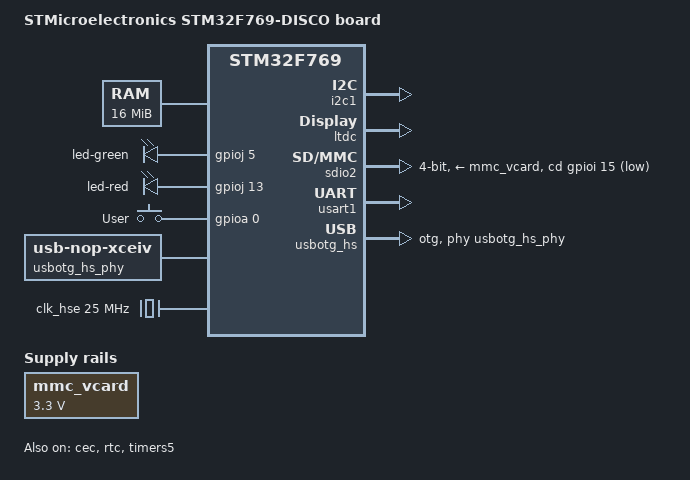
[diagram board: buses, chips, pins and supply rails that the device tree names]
// SPDX-License-Identifier: GPL-2.0+ OR X11
/*
 * Copyright 2017 - Vikas MANOCHA <vikas.manocha@st.com>
 *
 */

/dts-v1/;
#include "stm32f746.dtsi"
#include "stm32f769-pinctrl.dtsi"
#include <dt-bindings/input/input.h>
#include <dt-bindings/gpio/gpio.h>

/ {
	model = "STMicroelectronics STM32F769-DISCO board";
	compatible = "st,stm32f769-disco", "st,stm32f769";

	chosen {
		bootargs = "root=/dev/ram";
		stdout-path = "serial0:115200n8";
	};

	memory@c0000000 {
		device_type = "memory";
		reg = <0xC0000000 0x1000000>;
	};

	aliases {
		serial0 = &usart1;
	};

	leds {
		compatible = "gpio-leds";
		led-green {
			gpios = <&gpioj 5 GPIO_ACTIVE_HIGH>;
			linux,default-trigger = "heartbeat";
		};
		led-red {
			gpios = <&gpioj 13 GPIO_ACTIVE_HIGH>;
		};
	};

	gpio-keys {
		compatible = "gpio-keys";
		autorepeat;
		button-0 {
			label = "User";
			linux,code = <KEY_HOME>;
			gpios = <&gpioa 0 GPIO_ACTIVE_HIGH>;
		};
	};

	usbotg_hs_phy: usb-phy {
		#phy-cells = <0>;
		compatible = "usb-nop-xceiv";
		clocks = <&rcc 0 STM32F7_AHB1_CLOCK(OTGHSULPI)>;
		clock-names = "main_clk";
	};

	mmc_vcard: mmc_vcard {
		compatible = "regulator-fixed";
		regulator-name = "mmc_vcard";
		regulator-min-microvolt = <3300000>;
		regulator-max-microvolt = <3300000>;
	};
};

&rcc {
	compatible = "st,stm32f769-rcc", "st,stm32f746-rcc", "st,stm32-rcc";
};

&cec {
	pinctrl-0 = <&cec_pins_a>;
	pinctrl-names = "default";
	status = "okay";
};

&clk_hse {
	clock-frequency = <25000000>;
};

&i2c1 {
	pinctrl-0 = <&i2c1_pins_b>;
	pinctrl-names = "default";
	i2c-scl-rising-time-ns = <185>;
	i2c-scl-falling-time-ns = <20>;
	status = "okay";
};

&ltdc {
	status = "okay";
};

&rtc {
	status = "okay";
};

&sdio2 {
	status = "okay";
	vmmc-supply = <&mmc_vcard>;
	cd-gpios = <&gpioi 15 GPIO_ACTIVE_LOW>;
	broken-cd;
	pinctrl-names = "default", "opendrain";
	pinctrl-0 = <&sdio_pins_b>;
	pinctrl-1 = <&sdio_pins_od_b>;
	bus-width = <4>;
};

&timers5 {
	/* Override timer5 to act as clockevent */
	compatible = "st,stm32-timer";
	interrupts = <50>;
	status = "okay";
	/delete-property/#address-cells;
	/delete-property/#size-cells;
	/delete-property/clock-names;
	/delete-node/pwm;
	/delete-node/timer@4;
};

&usart1 {
	pinctrl-0 = <&usart1_pins_a>;
	pinctrl-names = "default";
	status = "okay";
};

&usbotg_hs {
	dr_mode = "otg";
	phys = <&usbotg_hs_phy>;
	phy-names = "usb2-phy";
	pinctrl-0 = <&usbotg_hs_pins_a>;
	pinctrl-names = "default";
	status = "okay";
};
